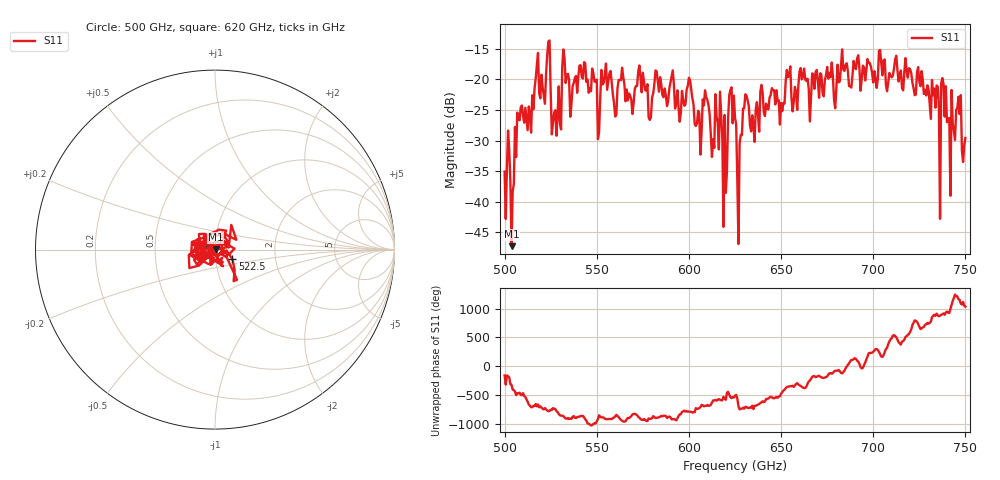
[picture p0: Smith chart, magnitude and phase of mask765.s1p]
!Created with skrf (http://scikit-rf.org).
# GHz S MA R 50.0
!freq magS11 angS11
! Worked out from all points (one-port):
!   401 points, 500 GHz to 750 GHz, reference 50 ohm
!   lowest |S11| = -47.3 dB at 503.8 GHz (marker M1), VSWR 1.01, Z = 50.3 + j0.276 ohm
!   |S11| at or under -10 dB: start of sweep to end of sweep
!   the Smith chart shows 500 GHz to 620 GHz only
!   S11 on the Smith chart (normalised r, x): 500 GHz: 0.97, -0.01; 522.5 GHz: 1.21, -0.13; 620 GHz: 0.98, +0.02
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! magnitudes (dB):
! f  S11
! 500 GHz  -35.1
! 503.8 GHz  -47.3
! 508.1 GHz  -26.7
! 522.5 GHz  -19.1
! 523.8 GHz  -13.8
! 526.9 GHz  -25.5
! 531.2 GHz  -18.0
! 542.5 GHz  -19.9
! 550.6 GHz  -29.8
! 562.5 GHz  -20.1
! 593.8 GHz  -21.8
! 600 GHz  -19.7
! 605.6 GHz  -25.6
! 609.4 GHz  -22.9
! 620 GHz  -38.6
! 623.1 GHz  -21.3
! 625 GHz  -26.3
! 627.5 GHz  -30.5
! 630.6 GHz  -22.4
! 634.4 GHz  -25.9
! 656.2 GHz  -25.2
! 687.5 GHz  -21.2
! 718.8 GHz  -19.7
! 735 GHz  -21.2
! 738.1 GHz  -20.7
! 743.1 GHz  -27.1
! 746.2 GHz  -22.8
! 750 GHz  -29.6
